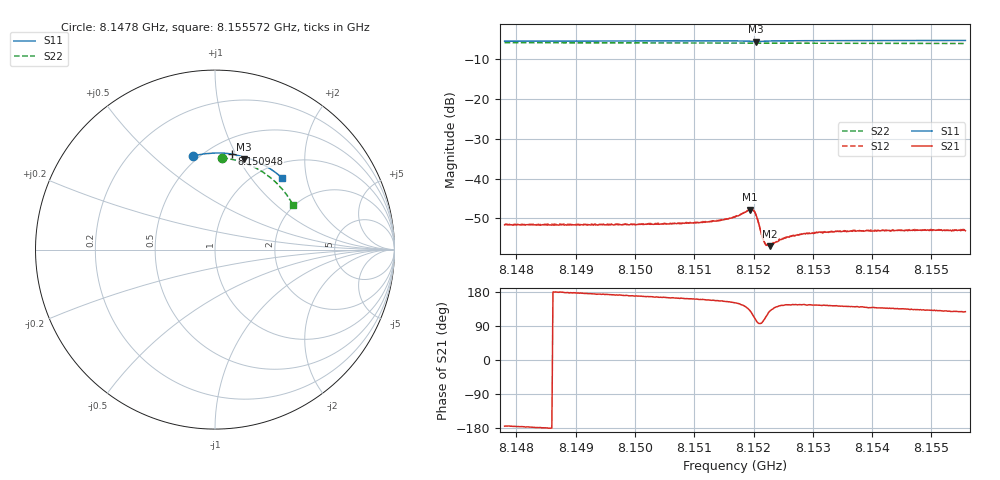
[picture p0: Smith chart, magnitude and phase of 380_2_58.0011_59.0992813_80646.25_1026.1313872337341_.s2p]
#  HZ  S  RI  R  50.00
! Rohde & Schwarz Vector Network Analyzer
! Rohde-Schwarz,ZNB20-2Port,1311601062101988,3.16
! Created: UTC 3/21/2024, 1:07:17 AM
! freq[Hz]  re:S11  im:S11  re:S21  im:S21  re:S12  im:S12  re:S22  im:S22
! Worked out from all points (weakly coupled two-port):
!   401 points, 8.1478 GHz to 8.155572 GHz, reference 50 ohm
!   highest |S21| = -47.78 dB at 8.151939 GHz (marker M1); lowest = -57.0 dB at 8.152269 GHz (marker M2)
!   lowest |S11| = -5.5 dB at 8.152036 GHz (marker M3), VSWR 3.25, Z = 37.6 + j52.7 ohm
!   |S11| at or under -10 dB: nowhere
!   |S22| runs from -6.0 to -5.8 dB; largest |S21 - S12| = 0.00012
!   S11 on the Smith chart (normalised r, x): 8.1478 GHz: 0.46, +0.68; 8.150948 GHz: 0.64, +0.96; 8.155572 GHz: 1.27, +1.45
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8.1477999e9  -0.1251 0.5203  -0.0026 -0.000247  -0.00264 -0.00024  0.0414 0.5108
8.1491017e9  -0.0356 0.5362  -0.00263 0.000175  -0.00265 0.000217  0.1244 0.4955
8.1504036e9  0.0549 0.5366  -0.00258 0.000672  -0.00263 0.000726  0.2032 0.4668
8.1509476e9  0.0928 0.5323  -0.00263 0.000885  -0.00264 0.000934  0.2344 0.451
8.1513751e9  0.1227 0.5266  -0.00269 0.00116  -0.00273 0.0012  0.2579 0.4372
8.1515694e9  0.1367 0.5233  -0.0028 0.00139  -0.00278 0.00143  0.2684 0.4307
8.151686e9  0.1451 0.5206  -0.00287 0.00159  -0.00288 0.00166  0.2746 0.4264
8.1519386e9  0.1624 0.509  -0.00264 0.00312  -0.00257 0.00317  0.2876 0.4168
8.1519968e9  0.1626 0.505  -0.00175 0.00357  -0.00172 0.00363  0.2903 0.4147
8.1520357e9  0.1614 0.5042  -0.000974 0.00342  -0.000935 0.00345  0.2921 0.4131
8.1520746e9  0.1607 0.5055  -0.000392 0.00288  -0.000371 0.00292  0.2942 0.4119
8.1521329e9  0.163 0.5086  -0.000245 0.00197  -0.000232 0.00199  0.2971 0.4097
8.1521717e9  0.1659 0.5098  -0.00043 0.00159  -0.000422 0.00161  0.2989 0.4084
8.1522106e9  0.1692 0.5105  -0.000607 0.00131  -0.00061 0.00135  0.3011 0.407
8.15223e9  0.1709 0.5107  -0.000711 0.00128  -0.000726 0.00126  0.3022 0.4061
8.1522689e9  0.1741 0.5104  -0.00088 0.00111  -0.000904 0.00116  0.3041 0.4047
8.1525409e9  0.1947 0.5057  -0.00148 0.00101  -0.00148 0.00107  0.3177 0.3937
8.1528518e9  0.2159 0.4982  -0.0017 0.00112  -0.00166 0.00117  0.3323 0.3807
8.1529878e9  0.2248 0.4947  -0.0017 0.00119  -0.0017 0.0012  0.3385 0.3748
8.1534153e9  0.252 0.4822  -0.00173 0.00132  -0.00172 0.00134  0.3576 0.3557
8.1542896e9  0.3048 0.4521  -0.00163 0.00153  -0.00159 0.00154  0.3931 0.3136
8.155572e9  0.3747 0.3984  -0.00135 0.00175  -0.00133 0.00183  0.4359 0.2463
